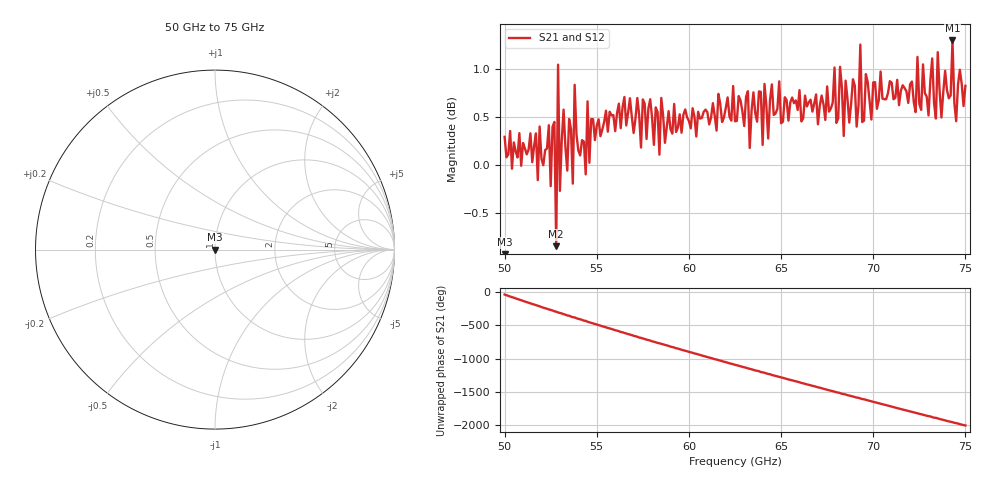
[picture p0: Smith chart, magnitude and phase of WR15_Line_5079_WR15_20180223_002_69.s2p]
# GHZ S RI R 50
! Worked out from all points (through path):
!   251 points, 50 GHz to 75 GHz, reference 50 ohm
!   highest |S21| = 1.30 dB at 74.3 GHz (marker M1); lowest = -0.8 dB at 52.8 GHz (marker M2)
!   lowest |S11| = - dB at 50 GHz (marker M3), VSWR 1.00, Z = 50 + j1.3e-15 ohm
!   |S11| at or under -10 dB: start of sweep to end of sweep
!   |S22| runs from - to - dB; largest |S21 - S12| = 1e-14
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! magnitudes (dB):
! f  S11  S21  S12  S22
! 50 GHz  -  0.3  0.3  -
! 52.4 GHz  -  0.4  0.4  -
! 52.5 GHz  -  -0.2  -0.2  -
! 52.7 GHz  -  0.4  0.4  -
! 52.8 GHz  -  -0.8  -0.8  -
! 52.9 GHz  -  1.0  1.0  -
! 53 GHz  -  -0.3  -0.3  -
! 53.2 GHz  -  0.6  0.6  -
! 53.7 GHz  -  -0.2  -0.2  -
! 53.8 GHz  -  0.8  0.8  -
! 54.2 GHz  -  0.3  0.3  -
! 58.4 GHz  -  0.1  0.1  -
! 62.5 GHz  -  0.5  0.5  -
! 66.7 GHz  -  0.6  0.6  -
! 70.9 GHz  -  0.9  0.9  -
! 73.2 GHz  -  1.1  1.1  -
! 73.4 GHz  -  0.5  0.5  -
! 73.5 GHz  -  1.2  1.2  -
! 73.7 GHz  -  0.5  0.5  -
! 74.3 GHz  -  1.3  1.3  -
! 74.5 GHz  -  0.5  0.5  -
! 75 GHz  -  0.8  0.8  -
